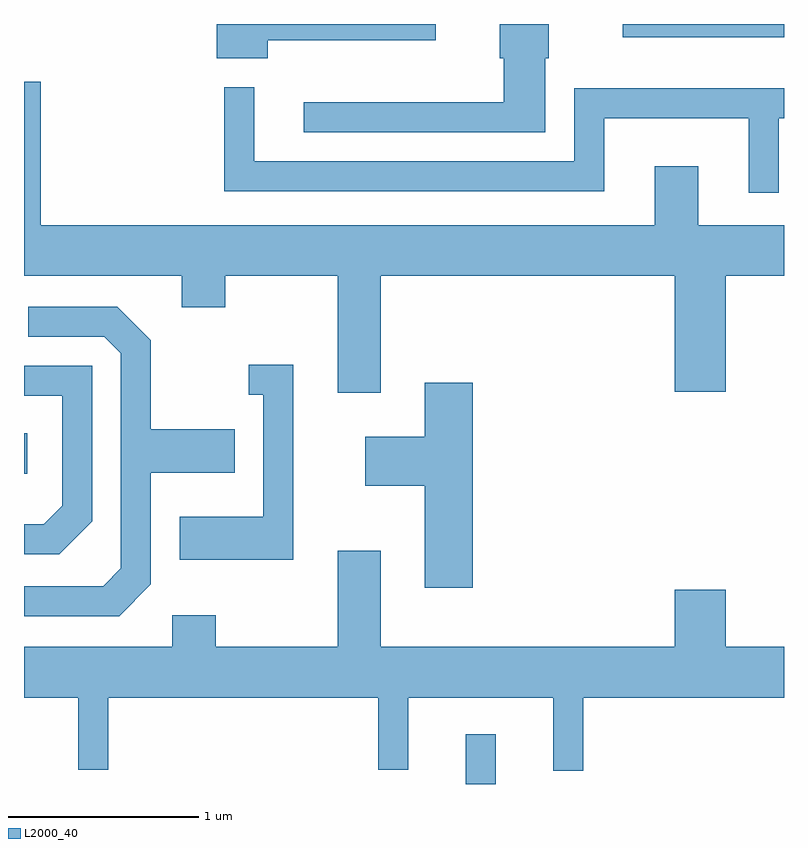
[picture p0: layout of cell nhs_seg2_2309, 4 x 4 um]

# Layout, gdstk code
import gdstk
lib = gdstk.Library(unit=1e-6, precision=1e-09)
def R(c, l, rs):  # rectangles x0, y0, x1, y1
    for r in rs: c.add(gdstk.rectangle(r[:2], r[2:], *l))
def P(c, l, *ps):  # polygons
    for p in ps: c.add(gdstk.Polygon(p, *l))
L2000_40 = (2000, 40)

nhs_seg2_2309 = lib.new_cell('nhs_seg2_2309')
R(nhs_seg2_2309, L2000_40, [(253.936,1107.802,254.094,1108.063), (251.611,1109.436,251.629,1109.649), (254.763,1111.731,255.611,1111.802)])
P(nhs_seg2_2309, L2000_40, [(252.894,1111.716),(253.779,1111.716),(253.779,1111.802),(252.626,1111.802),(252.626,1111.621),(252.894,1111.621)],
  [(254.354,1111.621),(254.374,1111.621),(254.374,1111.802),(254.116,1111.802),(254.116,1111.621),(254.136,1111.621),(254.136,1111.389),(253.083,1111.389),(253.083,1111.231),(254.354,1111.231)],
  [(251.699,1111.499),(251.611,1111.499),(251.611,1110.476),(252.441,1110.476),(252.441,1110.311),(252.669,1110.311),(252.669,1110.476),(253.261,1110.476),(253.261,1109.861),(253.489,1109.861),(253.489,1110.476),(255.036,1110.476),(255.036,1109.866),(255.304,1109.866),(255.304,1110.476),(255.611,1110.476),(255.611,1110.744),(255.159,1110.744),(255.159,1111.054),(254.931,1111.054),(254.931,1110.744),(251.699,1110.744)],
  [(255.584,1111.306),(255.611,1111.306),(255.611,1111.464),(254.506,1111.464),(254.506,1111.079),(252.824,1111.079),(252.824,1111.468),(252.666,1111.468),(252.666,1110.921),(254.664,1110.921),(254.664,1111.306),(255.426,1111.306),(255.426,1110.913),(255.584,1110.913)],
  [(252.279,1108.854),(252.279,1109.441),(252.719,1109.441),(252.719,1109.669),(252.279,1109.669),(252.279,1110.137),(252.102,1110.314),(251.633,1110.314),(251.633,1110.156),(252.034,1110.156),(252.121,1110.069),(252.121,1108.937),(252.029,1108.844),(251.611,1108.844),(251.611,1108.686),(252.112,1108.686)],
  [(253.029,1110.009),(252.793,1110.009),(252.793,1109.851),(252.871,1109.851),(252.871,1109.209),(252.431,1109.209),(252.431,1108.981),(253.029,1108.981)],
  [(251.969,1109.184),(251.969,1110.004),(251.611,1110.004),(251.611,1109.846),(251.811,1109.846),(251.811,1109.267),(251.714,1109.169),(251.611,1109.169),(251.611,1109.011),(251.797,1109.011)],
  [(253.974,1109.914),(253.721,1109.914),(253.721,1109.629),(253.406,1109.629),(253.406,1109.371),(253.721,1109.371),(253.721,1108.836),(253.974,1108.836)],
  [(254.554,1108.256),(255.611,1108.256),(255.611,1108.524),(255.304,1108.524),(255.304,1108.824),(255.036,1108.824),(255.036,1108.524),(253.489,1108.524),(253.489,1109.029),(253.261,1109.029),(253.261,1108.524),(252.619,1108.524),(252.619,1108.689),(252.391,1108.689),(252.391,1108.524),(251.611,1108.524),(251.611,1108.256),(251.896,1108.256),(251.896,1107.878),(252.054,1107.878),(252.054,1108.256),(253.476,1108.256),(253.476,1107.878),(253.634,1107.878),(253.634,1108.256),(254.396,1108.256),(254.396,1107.873),(254.554,1107.873)])

lib.write_gds('nhs_seg2_2309.gds')
